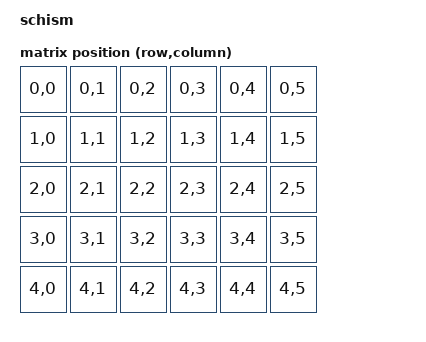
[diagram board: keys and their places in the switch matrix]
/dts-v1/;
#include <nordic/nrf52840_qiaa.dtsi>
#include <dt-bindings/zmk/matrix_transform.h>

/ {
	model = "schism";
	compatible = "gbrnt,schism";

	chosen {
		zephyr,code-partition = &code_partition;
		zephyr,sram = &sram0;
		zephyr,flash = &flash0;
		zmk,kscan = &kscan0;
		zmk,matrix_transform = &default_transform;
    zmk,battery = &vbatt;
	};

	aliases {
		led0 = &green_led;
	};

	leds {
		compatible = "gpio-leds";
		green_led: led_0 {
			gpios = <&gpio0 22 GPIO_ACTIVE_HIGH>;
			label = "Green LED";
		};
	};

	vbatt: vbatt {
		compatible = "zmk,battery-voltage-divider";
		label = "VBATT";
    io-channels = <&adc 3>;
    output-ohms = <2000000>;
    full-ohms = <(2000000 + 806000)>;
	};

	default_transform: transform {
		compatible = "zmk,matrix-transform";
		rows = <5>;
		columns = <6>;

        // Switch numbers of board
        // SW1  | SW2  | SW3  | SW4  | SW5  | SW6
        // SW7  | SW8  | SW9  | SW10 | SW11 | SW12
        // SW13 | SW14 | SW15 | SW16 | SW17 | SW18
        // SW19 | SW20 | SW21 | SW22 | SW23 | SW24
        // SW25 | SW26 | SW27 | SW28 | SW29 | SW30

        // So the interesting ones for Ardux
        // SW8  SW9  SW10 SW11
        // SW14 SW15 SW16 SW17

		map = <
            RC(0,0) RC(0,1) RC(0,2) RC(0,3) RC(0,4) RC(0,5)
            RC(1,0) RC(1,1) RC(1,2) RC(1,3) RC(1,4) RC(1,5)
            RC(2,0) RC(2,1) RC(2,2) RC(2,3) RC(2,4) RC(2,5)
            RC(3,0) RC(3,1) RC(3,2) RC(3,3) RC(3,4) RC(3,5)
            RC(4,0) RC(4,1) RC(4,2) RC(4,3) RC(4,4) RC(4,5)
        >;
	};
};

&adc {
	status = "okay";
};

&gpiote {
	status = "okay";
};

&gpio0 {
	status = "okay";
};

&gpio1 {
	status = "okay";
};


&usbd {
	status = "okay";
};


&flash0 {
	/*
	 * For more information, see:
	 * http://docs.zephyrproject.org/latest/devices/dts/flash_partitions.html
	 */
	partitions {
		compatible = "fixed-partitions";
		#address-cells = <1>;
		#size-cells = <1>;

		sd_partition: partition@0 {
			label = "mbr";
			reg = <0x00000000 0x00001000>;
		};
		code_partition: partition@1000 {
			label = "code_partition";
			reg = <0x00001000 0x000d3000>;
		};

		storage_partition: partition@d4000 {
			label = "storage";
			reg = <0x000d4000 0x00020000>;
		};

		boot_partition: partition@f4000 {
			label = "adafruit_boot";
			reg = <0x000f4000 0x0000c000>;
		};
	};
};


&i2c0 {
	compatible = "nordic,nrf-twi";
	status = "okay";
	sda-pin = <23>;
	scl-pin = <21>;

	oled: ssd1306@3c {
		compatible = "solomon,ssd1306fb";
		reg = <0x3c>;
		label = "DISPLAY";
		width = <128>;
		height = <32>;
		segment-offset = <0>;
		page-offset = <0>;
		display-offset = <0>;
		multiplex-ratio = <31>;
		//segment-remap;
		//com-invdir;
		com-sequential;
		prechargep = <0x22>;
	};
};
